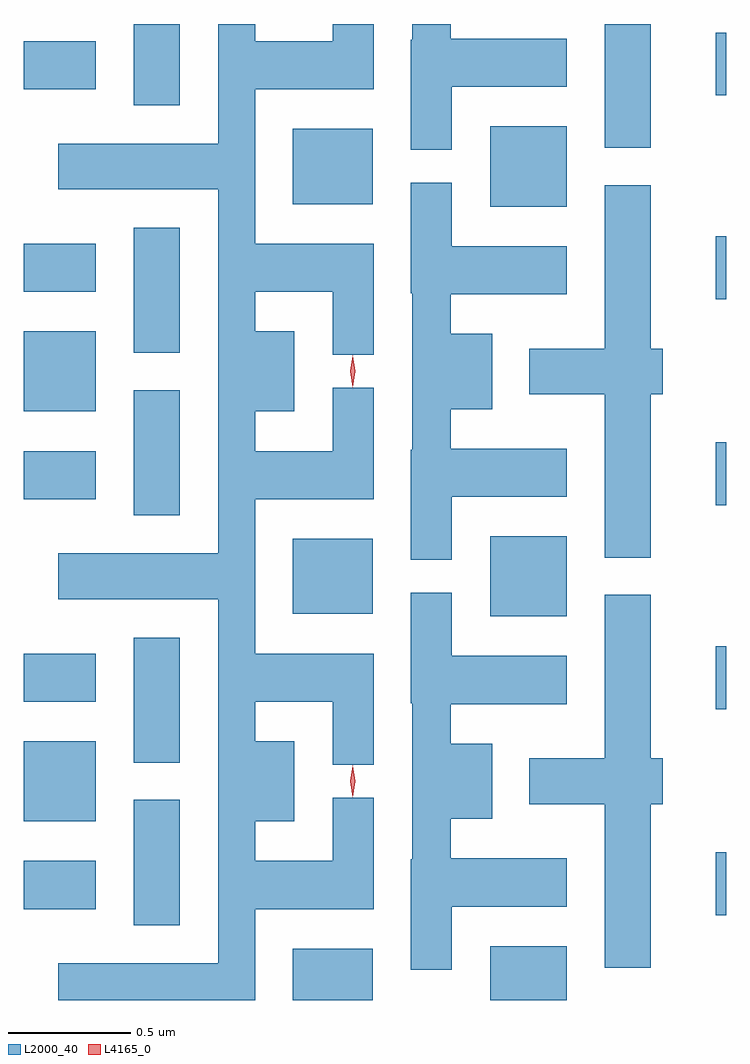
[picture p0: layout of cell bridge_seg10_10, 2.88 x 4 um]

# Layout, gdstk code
import gdstk
lib = gdstk.Library(unit=1e-6, precision=1e-09)
def R(c, l, rs):  # rectangles x0, y0, x1, y1
    for r in rs: c.add(gdstk.rectangle(r[:2], r[2:], *l))
def P(c, l, *ps):  # polygons
    for p in ps: c.add(gdstk.Polygon(p, *l))
L2000_40 = (2000, 40)
L4165_0 = (4165, 0)

bridge_seg10_10 = lib.new_cell('bridge_seg10_10')
R(bridge_seg10_10, L2000_40, [(1912.546,2173.314,1912.874,2173.524), (1913.356,2173.314,1913.669,2173.534), (1911.896,2173.621,1912.084,2174.134), (1914.281,2173.661,1914.323,2173.919), (1911.445,2173.686,1911.739,2173.884), (1911.445,2174.046,1911.739,2174.374), (1911.896,2174.286,1912.084,2174.799), (1914.281,2174.506,1914.323,2174.764), (1911.445,2174.536,1911.739,2174.734), (1913.356,2174.886,1913.669,2175.214), (1912.546,2174.896,1912.874,2175.204), (1911.896,2175.301,1912.084,2175.814), (1914.281,2175.341,1914.323,2175.599), (1911.445,2175.366,1911.739,2175.564), (1911.445,2175.726,1911.739,2176.054), (1911.896,2175.966,1912.084,2176.479), (1914.281,2176.186,1914.323,2176.444), (1911.445,2176.216,1911.739,2176.414), (1913.356,2176.566,1913.669,2176.894), (1912.546,2176.576,1912.874,2176.884), (1913.826,2176.806,1914.014,2177.314), (1911.896,2176.981,1912.084,2177.314), (1914.281,2177.021,1914.323,2177.279), (1911.445,2177.046,1911.739,2177.244)])
P(bridge_seg10_10, L2000_40, [(1912.394,2173.686),(1912.879,2173.686),(1912.879,2174.143),(1912.711,2174.143),(1912.711,2173.884),(1912.394,2173.884),(1912.394,2174.046),(1912.554,2174.046),(1912.554,2174.374),(1912.394,2174.374),(1912.394,2174.536),(1912.711,2174.536),(1912.711,2174.278),(1912.879,2174.278),(1912.879,2174.734),(1912.394,2174.734),(1912.394,2175.366),(1912.879,2175.366),(1912.879,2175.823),(1912.711,2175.823),(1912.711,2175.564),(1912.394,2175.564),(1912.394,2175.726),(1912.554,2175.726),(1912.554,2176.054),(1912.394,2176.054),(1912.394,2176.216),(1912.711,2176.216),(1912.711,2175.958),(1912.879,2175.958),(1912.879,2176.414),(1912.394,2176.414),(1912.394,2177.046),(1912.879,2177.046),(1912.879,2177.314),(1912.711,2177.314),(1912.711,2177.244),(1912.394,2177.244),(1912.394,2177.314),(1912.241,2177.314),(1912.241,2176.824),(1911.586,2176.824),(1911.586,2176.636),(1912.241,2176.636),(1912.241,2175.144),(1911.586,2175.144),(1911.586,2174.956),(1912.241,2174.956),(1912.241,2173.464),(1911.586,2173.464),(1911.586,2173.314),(1912.394,2173.314)],
  [(1913.199,2177.056),(1913.669,2177.056),(1913.669,2177.254),(1913.194,2177.254),(1913.194,2177.314),(1913.036,2177.314),(1913.036,2177.25),(1913.031,2177.25),(1913.031,2176.798),(1913.199,2176.798)],
  [(1913.199,2175.376),(1913.669,2175.376),(1913.669,2175.574),(1913.194,2175.574),(1913.194,2175.736),(1913.364,2175.736),(1913.364,2176.044),(1913.194,2176.044),(1913.194,2176.206),(1913.669,2176.206),(1913.669,2176.404),(1913.199,2176.404),(1913.199,2176.663),(1913.031,2176.663),(1913.031,2176.21),(1913.036,2176.21),(1913.036,2175.57),(1913.031,2175.57),(1913.031,2175.118),(1913.199,2175.118)],
  [(1914.014,2175.796),(1914.064,2175.796),(1914.064,2175.984),(1914.014,2175.984),(1914.014,2176.654),(1913.826,2176.654),(1913.826,2175.984),(1913.516,2175.984),(1913.516,2175.796),(1913.826,2175.796),(1913.826,2175.126),(1914.014,2175.126)],
  [(1913.199,2173.696),(1913.669,2173.696),(1913.669,2173.894),(1913.194,2173.894),(1913.194,2174.056),(1913.364,2174.056),(1913.364,2174.364),(1913.194,2174.364),(1913.194,2174.526),(1913.669,2174.526),(1913.669,2174.724),(1913.199,2174.724),(1913.199,2174.983),(1913.031,2174.983),(1913.031,2174.53),(1913.036,2174.53),(1913.036,2173.89),(1913.031,2173.89),(1913.031,2173.438),(1913.199,2173.438)],
  [(1914.014,2174.116),(1914.064,2174.116),(1914.064,2174.304),(1914.014,2174.304),(1914.014,2174.974),(1913.826,2174.974),(1913.826,2174.304),(1913.516,2174.304),(1913.516,2174.116),(1913.826,2174.116),(1913.826,2173.446),(1914.014,2173.446)])
P(bridge_seg10_10, L4165_0, [(1912.793,2174.144),(1912.792,2174.145),(1912.783,2174.21),(1912.792,2174.275),(1912.793,2174.276),(1912.793,2174.275),(1912.803,2174.21),(1912.793,2174.145)],
  [(1912.793,2175.824),(1912.792,2175.825),(1912.783,2175.89),(1912.792,2175.955),(1912.793,2175.956),(1912.793,2175.955),(1912.803,2175.89),(1912.793,2175.825)])

lib.write_gds('bridge_seg10_10.gds')
